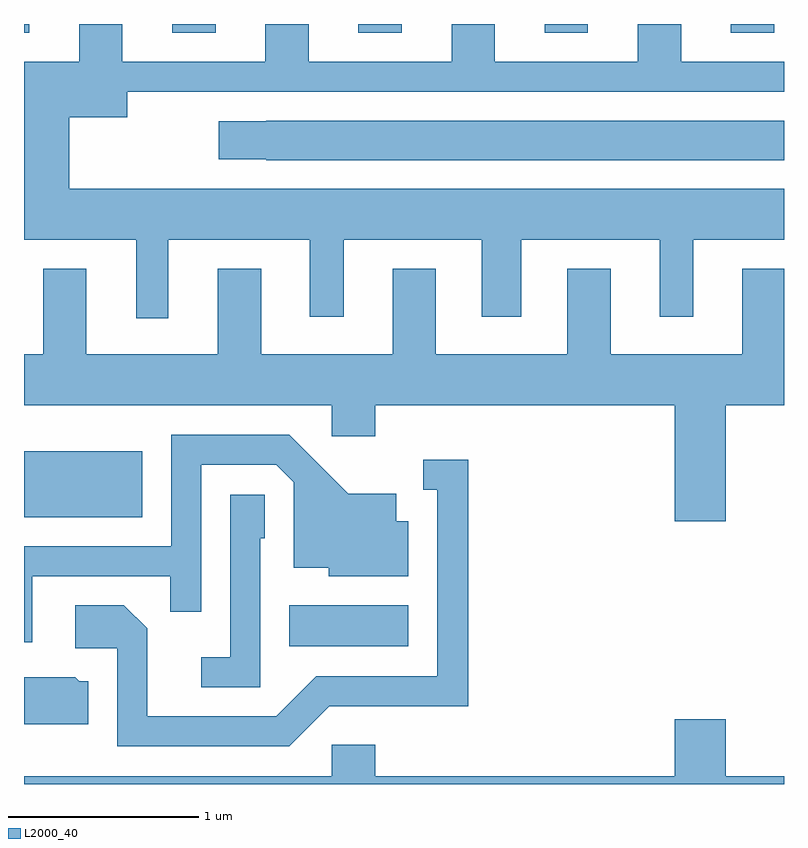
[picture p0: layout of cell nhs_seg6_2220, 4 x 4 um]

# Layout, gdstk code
import gdstk
lib = gdstk.Library(unit=1e-6, precision=1e-09)
def R(c, l, rs):  # rectangles x0, y0, x1, y1
    for r in rs: c.add(gdstk.rectangle(r[:2], r[2:], *l))
def A(c, l, x, y, w, h, nx, ny, dx, dy):  # array of equal rectangles
    R(c, l, [(x+i*dx, y+j*dy, x+i*dx+w, y+j*dy+h) for i in range(nx) for j in range(ny)])
def P(c, l, *ps):  # polygons
    for p in ps: c.add(gdstk.Polygon(p, *l))
L2000_40 = (2000, 40)

nhs_seg6_2220 = lib.new_cell('nhs_seg6_2220')
A(nhs_seg6_2220, L2000_40, 252.391, 1654.116, 0.228, 0.046, 4, 1, 0.98, 0)
R(nhs_seg6_2220, L2000_40, [(253.006,1650.886,253.634,1651.104), (251.611,1651.566,252.234,1651.914), (251.611,1654.116,251.639,1654.162)])
P(nhs_seg6_2220, L2000_40, [(252.369,1653.026),(253.116,1653.026),(253.116,1652.621),(253.294,1652.621),(253.294,1653.026),(254.021,1653.026),(254.021,1652.621),(254.229,1652.621),(254.229,1653.026),(254.956,1653.026),(254.956,1652.621),(255.134,1652.621),(255.134,1653.026),(255.611,1653.026),(255.611,1653.294),(251.849,1653.294),(251.849,1653.671),(252.154,1653.671),(252.154,1653.806),(255.611,1653.806),(255.611,1653.964),(255.069,1653.964),(255.069,1654.162),(254.841,1654.162),(254.841,1653.964),(254.089,1653.964),(254.089,1654.162),(253.861,1654.162),(253.861,1653.964),(253.109,1653.964),(253.109,1654.162),(252.881,1654.162),(252.881,1653.964),(252.129,1653.964),(252.129,1654.162),(251.901,1654.162),(251.901,1653.964),(251.611,1653.964),(251.611,1653.026),(252.201,1653.026),(252.201,1652.613),(252.369,1652.613)],
  [(255.611,1653.654),(252.885,1653.654),(252.885,1653.649),(252.636,1653.649),(252.636,1653.451),(252.885,1653.451),(252.885,1653.446),(255.611,1653.446)],
  [(255.304,1652.156),(255.611,1652.156),(255.611,1652.874),(255.391,1652.874),(255.391,1652.424),(254.699,1652.424),(254.699,1652.874),(254.471,1652.874),(254.471,1652.424),(253.779,1652.424),(253.779,1652.874),(253.551,1652.874),(253.551,1652.424),(252.859,1652.424),(252.859,1652.874),(252.631,1652.874),(252.631,1652.424),(251.939,1652.424),(251.939,1652.874),(251.711,1652.874),(251.711,1652.424),(251.611,1652.424),(251.611,1652.156),(253.231,1652.156),(253.231,1651.991),(253.459,1651.991),(253.459,1652.156),(255.036,1652.156),(255.036,1651.546),(255.304,1651.546)],
  [(251.654,1651.256),(252.381,1651.256),(252.381,1651.068),(252.544,1651.068),(252.544,1651.841),(252.939,1651.841),(253.031,1651.749),(253.031,1651.301),(253.216,1651.301),(253.216,1651.256),(253.634,1651.256),(253.634,1651.544),(253.569,1651.544),(253.569,1651.689),(253.317,1651.689),(253.007,1651.999),(252.386,1651.999),(252.386,1651.414),(251.611,1651.414),(251.611,1650.908),(251.654,1650.908)],
  [(253.217,1650.571),(253.949,1650.571),(253.949,1651.869),(253.713,1651.869),(253.713,1651.711),(253.786,1651.711),(253.786,1650.729),(253.149,1650.729),(252.939,1650.519),(252.259,1650.519),(252.259,1650.982),(252.137,1651.104),(251.881,1651.104),(251.881,1650.876),(252.101,1650.876),(252.101,1650.361),(253.007,1650.361)],
  [(252.854,1651.456),(252.879,1651.456),(252.879,1651.684),(252.696,1651.684),(252.696,1650.829),(252.543,1650.829),(252.543,1650.671),(252.854,1650.671)],
  [(251.949,1650.704),(251.902,1650.704),(251.882,1650.724),(251.611,1650.724),(251.611,1650.476),(251.949,1650.476)],
  [(255.611,1650.204),(255.304,1650.204),(255.304,1650.504),(255.036,1650.504),(255.036,1650.204),(253.459,1650.204),(253.459,1650.369),(253.231,1650.369),(253.231,1650.204),(251.611,1650.204),(251.611,1650.162),(255.611,1650.162)])

lib.write_gds('nhs_seg6_2220.gds')
